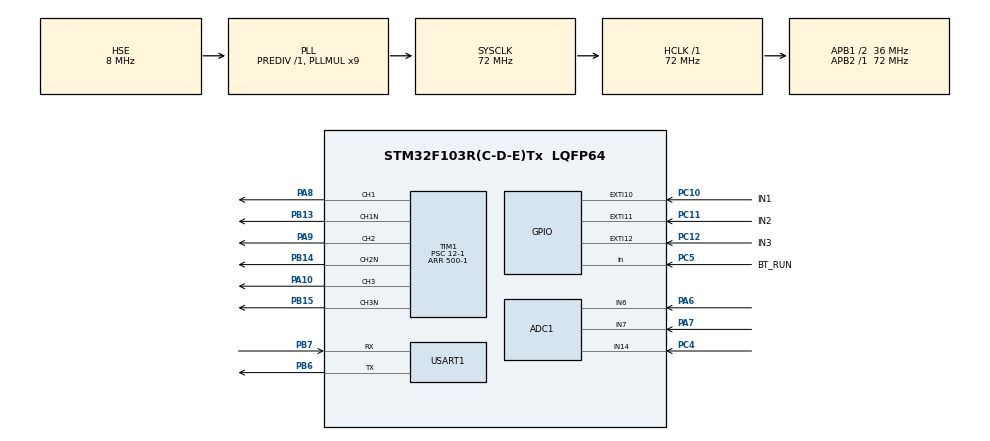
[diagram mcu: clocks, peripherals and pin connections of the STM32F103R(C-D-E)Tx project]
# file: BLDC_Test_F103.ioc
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ADC1.Channel-0\#ChannelRegularConversion=ADC_CHANNEL_6
ADC1.Channel-1\#ChannelRegularConversion=ADC_CHANNEL_7
ADC1.Channel-2\#ChannelRegularConversion=ADC_CHANNEL_14
ADC1.ContinuousConvMode=ENABLE
ADC1.NbrOfConversion=3
ADC1.NbrOfConversionFlag=1
ADC1.Rank-0\#ChannelRegularConversion=1
ADC1.Rank-1\#ChannelRegularConversion=2
ADC1.Rank-2\#ChannelRegularConversion=3
ADC1.SamplingTime-0\#ChannelRegularConversion=ADC_SAMPLETIME_71CYCLES_5
ADC1.SamplingTime-1\#ChannelRegularConversion=ADC_SAMPLETIME_71CYCLES_5
ADC1.SamplingTime-2\#ChannelRegularConversion=ADC_SAMPLETIME_71CYCLES_5
ADC1.master=1
Dma.ADC1.0.Direction=DMA_PERIPH_TO_MEMORY
Dma.ADC1.0.Instance=DMA1_Channel1
Dma.ADC1.0.MemDataAlignment=DMA_MDATAALIGN_HALFWORD
Dma.ADC1.0.MemInc=DMA_MINC_ENABLE
Dma.ADC1.0.Mode=DMA_CIRCULAR
Dma.ADC1.0.PeriphDataAlignment=DMA_PDATAALIGN_HALFWORD
Dma.ADC1.0.PeriphInc=DMA_PINC_DISABLE
Dma.ADC1.0.Priority=DMA_PRIORITY_LOW
Dma.Request0=ADC1
Mcu.Family=STM32F1
Mcu.Name=STM32F103R(C-D-E)Tx
Mcu.Package=LQFP64
NVIC.DMA1_Channel1_IRQn=true\:2\:0\:true\:false\:true\:false\:true\:true
NVIC.EXTI15_10_IRQn=true\:0\:0\:false\:false\:true\:true\:true\:true
NVIC.PriorityGroup=NVIC_PRIORITYGROUP_4
NVIC.TIM6_IRQn=true\:0\:0\:false\:false\:true\:true\:true\:true
PA10.Signal=S_TIM1_CH3
PA13.Mode=Serial_Wire
PA13.Signal=SYS_JTMS-SWDIO
PA14.Mode=Serial_Wire
PA14.Signal=SYS_JTCK-SWCLK
PA6.Signal=ADCx_IN6
PA7.Signal=ADCx_IN7
PA8.Signal=S_TIM1_CH1
PA9.Signal=S_TIM1_CH2
PB13.Mode=PWM Generation1 CH1 CH1N
PB13.Signal=TIM1_CH1N
PB14.Mode=PWM Generation2 CH2 CH2N
PB14.Signal=TIM1_CH2N
PB15.Mode=Output Compare3 CH3 CH3N
PB15.Signal=TIM1_CH3N
PB6.Mode=Asynchronous
PB6.Signal=USART1_TX
PB7.Mode=Asynchronous
PB7.Signal=USART1_RX
PC10.GPIO_Label=IN1
PC10.GPIO_ModeDefaultEXTI=GPIO_MODE_IT_RISING_FALLING
PC10.Signal=GPXTI10
PC11.GPIO_Label=IN2
PC11.GPIO_ModeDefaultEXTI=GPIO_MODE_IT_RISING_FALLING
PC11.Signal=GPXTI11
PC12.GPIO_Label=IN3
PC12.GPIO_ModeDefaultEXTI=GPIO_MODE_IT_RISING_FALLING
PC12.Signal=GPXTI12
PC4.Signal=ADCx_IN14
PC5.GPIO_Label=BT_RUN
PC5.GPIO_PuPd=GPIO_PULLUP
PC5.Signal=GPIO_Input
PD0-OSC_IN.Mode=HSE-External-Oscillator
PD0-OSC_IN.Signal=RCC_OSC_IN
PD1-OSC_OUT.Mode=HSE-External-Oscillator
PD1-OSC_OUT.Signal=RCC_OSC_OUT
ProjectManager.HeapSize=0x200
ProjectManager.StackSize=0x400
ProjectManager.TargetToolchain=STM32CubeIDE
RCC.ADCPresc=RCC_ADCPCLK2_DIV6
RCC.AHBFreq_Value=72000000
RCC.APB1CLKDivider=RCC_HCLK_DIV2
RCC.APB1Freq_Value=36000000
RCC.APB1TimFreq_Value=72000000
RCC.APB2Freq_Value=72000000
RCC.APB2TimFreq_Value=72000000
RCC.HCLKFreq_Value=72000000
RCC.PLLMUL=RCC_PLL_MUL9
RCC.PLLSourceVirtual=RCC_PLLSOURCE_HSE
RCC.SYSCLKFreq_VALUE=72000000
RCC.SYSCLKSource=RCC_SYSCLKSOURCE_PLLCLK
RCC.USBFreq_Value=72000000
SH.ADCx_IN14.0=ADC1_IN14,IN14
SH.ADCx_IN6.0=ADC1_IN6,IN6
SH.ADCx_IN7.0=ADC1_IN7,IN7
SH.S_TIM1_CH1.0=TIM1_CH1,PWM Generation1 CH1 CH1N
SH.S_TIM1_CH2.0=TIM1_CH2,PWM Generation2 CH2 CH2N
SH.S_TIM1_CH3.0=TIM1_CH3,Output Compare3 CH3 CH3N
TIM1.AutomaticOutput=TIM_AUTOMATICOUTPUT_ENABLE
TIM1.BreakState=TIM_BREAK_DISABLE
TIM1.Channel-Output\ Compare3\ CH3\ CH3N=TIM_CHANNEL_3
TIM1.Channel-PWM\ Generation1\ CH1\ CH1N=TIM_CHANNEL_1
TIM1.Channel-PWM\ Generation2\ CH2\ CH2N=TIM_CHANNEL_2
TIM1.CounterMode=TIM_COUNTERMODE_UP
TIM1.DeadTime=100
TIM1.Period=500-1
TIM1.Prescaler=12-1
TIM6.Period=1000-1
TIM6.Prescaler=72-1
TIM6.TIM_MasterOutputTrigger=TIM_TRGO_UPDATE
USART1.VirtualMode=VM_ASYNC
VP_TIM6_VS_ClockSourceINT.Mode=Enable_Timer
board=custom

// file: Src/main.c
/* USER CODE BEGIN Header */
/**
  ******************************************************************************
  * @file           : main.c
  * @brief          : Main program body
  ******************************************************************************
  * @attention
  *
  * Copyright (c) 2024 STMicroelectronics.
  * All rights reserved.
  *
  * This software is licensed under terms that can be found in the LICENSE file
  * in the root directory of this software component.
  * If no LICENSE file comes with this software, it is provided AS-IS.
  *
  ******************************************************************************
  */
/* USER CODE END Header */
#include "main.h"
#include "adc.h"
#include "dma.h"
#include "tim.h"
#include "usart.h"
#include "gpio.h"

/* USER CODE BEGIN Includes */
#include "math.h"
#include "stdlib.h"
#include "stdio.h"
#include "string.h"
/* USER CODE END Includes */

/* USER CODE BEGIN PD */
uint32_t cnt;
uint16_t PWM_Output[3];

float freq = 10;
float Vt[3];

float Vt_shift[3];

uint8_t bt_run,status_run;

uint32_t ADC_Buffer[2];
uint16_t ADC_Read[3];
float ADC_Voltage[3];

uint8_t EMF_Logic[3];

float deg_step[6] = {0,60,120,180,240,300};
uint8_t sector;

/* USER CODE END PD */

void SystemClock_Config(void);
/* USER CODE BEGIN PFP */
long map(long x, long in_min, long in_max, long out_min, long out_max) {
  return (x - in_min) * (out_max - out_min) / (in_max - in_min) + out_min;
};
/* USER CODE END PFP */

int main(void)
{

  /* MCU Configuration--------------------------------------------------------*/

  /* Reset of all peripherals, Initializes the Flash interface and the Systick. */
  HAL_Init();

  /* Configure the system clock */
  SystemClock_Config();

  /* Initialize all configured peripherals */
  MX_GPIO_Init();
  MX_DMA_Init();
  MX_ADC1_Init();
  MX_TIM1_Init();
  MX_USART1_UART_Init();
  MX_TIM6_Init();
  /* USER CODE BEGIN 2 */
//
  HAL_TIM_PWM_Start(&htim1, TIM_CHANNEL_1);
  HAL_TIM_PWM_Start(&htim1, TIM_CHANNEL_2);
  HAL_TIM_PWM_Start(&htim1, TIM_CHANNEL_3);

  HAL_TIMEx_PWMN_Start(&htim1, TIM_CHANNEL_1);
  HAL_TIMEx_PWMN_Start(&htim1, TIM_CHANNEL_2);
  HAL_TIMEx_PWMN_Start(&htim1, TIM_CHANNEL_3);

  HAL_ADC_Start_DMA(&hadc1, ADC_Buffer, 3);

  HAL_TIM_Base_Start_IT(&htim6);

  /* USER CODE END 2 */

  /* Infinite loop */
  while (1)
  {

    /* USER CODE BEGIN 3 */

	  char buffer[64];
	  sprintf(buffer,"%d,%d,%d\n",PWM_Output[0],PWM_Output[1],PWM_Output[2]);

	  HAL_UART_Transmit(&huart1, (uint8_t*)buffer, strlen(buffer),1000);

	  bt_run = HAL_GPIO_ReadPin(BT_RUN_GPIO_Port, BT_RUN_Pin);

	  if(!HAL_GPIO_ReadPin(BT_RUN_GPIO_Port, BT_RUN_Pin))
	  {
		  while(!HAL_GPIO_ReadPin(BT_RUN_GPIO_Port, BT_RUN_Pin));
		  status_run ^= 1;
	  }

  }
  /* USER CODE END 3 */
}

void SystemClock_Config(void)
{
  RCC_OscInitTypeDef RCC_OscInitStruct = {0};
  RCC_ClkInitTypeDef RCC_ClkInitStruct = {0};
  RCC_PeriphCLKInitTypeDef PeriphClkInit = {0};

  /** Initializes the RCC Oscillators according to the specified parameters
  * in the RCC_OscInitTypeDef structure.
  */
  RCC_OscInitStruct.OscillatorType = RCC_OSCILLATORTYPE_HSE;
  RCC_OscInitStruct.HSEState = RCC_HSE_ON;
  RCC_OscInitStruct.HSEPredivValue = RCC_HSE_PREDIV_DIV1;
  RCC_OscInitStruct.HSIState = RCC_HSI_ON;
  RCC_OscInitStruct.PLL.PLLState = RCC_PLL_ON;
  RCC_OscInitStruct.PLL.PLLSource = RCC_PLLSOURCE_HSE;
  RCC_OscInitStruct.PLL.PLLMUL = RCC_PLL_MUL9;
  if (HAL_RCC_OscConfig(&RCC_OscInitStruct) != HAL_OK)
  {
    Error_Handler();
  }

  /** Initializes the CPU, AHB and APB buses clocks
  */
  RCC_ClkInitStruct.ClockType = RCC_CLOCKTYPE_HCLK|RCC_CLOCKTYPE_SYSCLK
                              |RCC_CLOCKTYPE_PCLK1|RCC_CLOCKTYPE_PCLK2;
  RCC_ClkInitStruct.SYSCLKSource = RCC_SYSCLKSOURCE_PLLCLK;
  RCC_ClkInitStruct.AHBCLKDivider = RCC_SYSCLK_DIV1;
  RCC_ClkInitStruct.APB1CLKDivider = RCC_HCLK_DIV2;
  RCC_ClkInitStruct.APB2CLKDivider = RCC_HCLK_DIV1;

  if (HAL_RCC_ClockConfig(&RCC_ClkInitStruct, FLASH_LATENCY_2) != HAL_OK)
  {
    Error_Handler();
  }
  PeriphClkInit.PeriphClockSelection = RCC_PERIPHCLK_ADC;
  PeriphClkInit.AdcClockSelection = RCC_ADCPCLK2_DIV6;
  if (HAL_RCCEx_PeriphCLKConfig(&PeriphClkInit) != HAL_OK)
  {
    Error_Handler();
  }
}

/* USER CODE BEGIN 4 */

void HAL_GPIO_EXTI_Callback(uint16_t GPIO_Pin)
{

	if(GPIO_Pin == IN1_Pin)
	 EMF_Logic[0] = HAL_GPIO_ReadPin(IN1_GPIO_Port, IN1_Pin);
	else if(GPIO_Pin == IN2_Pin)
	 EMF_Logic[1] = HAL_GPIO_ReadPin(IN2_GPIO_Port, IN2_Pin);
	else if(GPIO_Pin == IN3_Pin)
	 EMF_Logic[2] = HAL_GPIO_ReadPin(IN3_GPIO_Port, IN3_Pin);

	if(EMF_Logic[0] == 1 && EMF_Logic[1] == 0 && EMF_Logic[2]==0)
		sector = 0;
	else if(EMF_Logic[0] == 1 && EMF_Logic[1] == 1 && EMF_Logic[2]==0)
		sector = 1;
	else if(EMF_Logic[0] == 0 && EMF_Logic[1] == 1 && EMF_Logic[2]==0)
		sector = 2;
	else if(EMF_Logic[0] == 0 && EMF_Logic[1] == 1 && EMF_Logic[2]==1)
		sector = 3;
	else if(EMF_Logic[0] == 0 && EMF_Logic[1] == 0 && EMF_Logic[2]==1)
		sector = 4;
	else if(EMF_Logic[0] == 1 && EMF_Logic[1] == 0 && EMF_Logic[2]==1)
		sector = 5;

}

void HAL_TIM_PeriodElapsedCallback(TIM_HandleTypeDef *htim)
{
	if(htim->Instance == TIM6)
	{

		ADC_Read[0] = ADC_Buffer[0] & 0xFFFF;
		ADC_Read[1] = (ADC_Buffer[0] >> 16) & 0xFFFF;
		ADC_Read[2] = ADC_Buffer[1] & 0xFFFF;

		ADC_Voltage[0] = ADC_Read[0] * 0.8058608;
		ADC_Voltage[1] = ADC_Read[1] * 0.8058608;
		ADC_Voltage[2] = ADC_Read[2] * 0.8058608;

		  float time,omega;
		  time = cnt * 0.001;

		  omega = 2 * M_PI * freq * time;

		  cnt++;

		  Vt[0] = 500 * sinf(omega);
		  Vt[1] = 500 * sinf(omega+2.0944);
		  Vt[2] = 500 * sinf(omega-2.0944);

		  Vt_shift[0] = Vt[0] + 500;
		  Vt_shift[1] = Vt[1] + 500;
		  Vt_shift[2] = Vt[2] + 500;

		  for(int i=0;i<3;i++)
		  {
			  long buff_v = Vt_shift[i];
			  PWM_Output[i] = map(buff_v, 0, 1000, 0, 500);
		  }

		  if (status_run)
		  {
				__HAL_TIM_SET_COMPARE(&htim1, TIM_CHANNEL_1, PWM_Output[0]);
				__HAL_TIM_SET_COMPARE(&htim1, TIM_CHANNEL_2, PWM_Output[1]);
				__HAL_TIM_SET_COMPARE(&htim1, TIM_CHANNEL_3, PWM_Output[2]);
		  }

	}
}

/* USER CODE END 4 */

void Error_Handler(void)
{
  __disable_irq();
  while (1)
  {
  }
}
